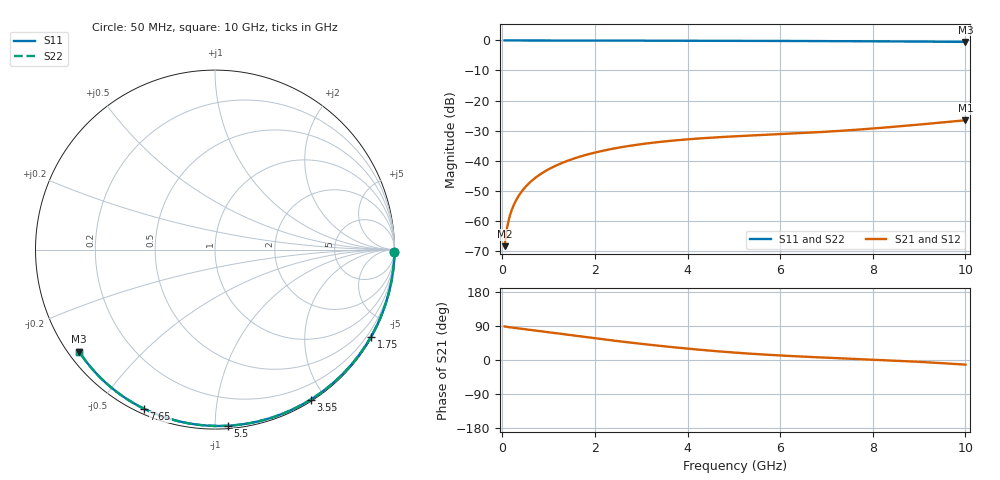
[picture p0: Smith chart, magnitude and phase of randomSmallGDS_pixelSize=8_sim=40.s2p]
! freq	dB(S11)	phase(S11)	dB(S12)	phase(S12)
!  dB(S21)	phase(S21)	dB(S22)	phase(S22)
!S-par simulation data
#  GHz  S  DB  R 50
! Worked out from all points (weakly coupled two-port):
!   200 points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, 50 MHz to 10 GHz, reference 50 ohm
!   highest |S21| = -26.57 dB at 10 GHz (marker M1); lowest = -68.5 dB at 50 MHz (marker M2)
!   lowest |S11| = -0.5 dB at 10 GHz (marker M3), VSWR 36.54, Z = 1.52 - j16.7 ohm
!   |S11| at or under -10 dB: nowhere
!   |S22| runs from -0.5 to 0.0 dB; largest |S21 - S12| = 0
!   S11 on the Smith chart (normalised r, x): 50 MHz: open; 1.75 GHz: 0.03, -3.85; 3.55 GHz: 0.02, -1.82; 5.5 GHz: 0.02, -1.08; 7.65 GHz: 0.02, -0.65; 10 GHz: 0.03, -0.33
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0.05  -0.00 -0.8  -68.47 88.6  -68.47 88.6  -0.00 -0.8
0.1  -0.00 -1.7  -62.51 87.4  -62.51 87.4  -0.00 -1.7
0.15  -0.00 -2.5  -59.05 86.5  -59.05 86.5  -0.00 -2.5
0.2  -0.00 -3.4  -56.59 85.7  -56.59 85.7  -0.00 -3.4
0.25  -0.00 -4.2  -54.69 84.9  -54.69 84.9  -0.00 -4.2
0.35  -0.00 -5.9  -51.81 83.4  -51.81 83.4  -0.00 -5.9
0.5  -0.01 -8.4  -48.76 81.1  -48.76 81.1  -0.01 -8.4
0.7  -0.01 -11.8  -45.89 77.9  -45.89 77.9  -0.01 -11.8
1  -0.02 -16.8  -42.88 73.0  -42.88 73.0  -0.02 -16.8
1.35  -0.03 -22.6  -40.40 67.4  -40.40 67.4  -0.03 -22.6
1.75  -0.04 -29.1  -38.34 61.1  -38.34 61.1  -0.04 -29.1
2.5  -0.05 -41.2  -35.71 49.8  -35.71 49.8  -0.05 -41.2
3.4  -0.07 -55.2  -33.77 37.4  -33.77 37.4  -0.07 -55.2
3.55  -0.08 -57.5  -33.53 35.4  -33.53 35.4  -0.08 -57.5
4.3  -0.10 -68.6  -32.57 26.7  -32.57 26.7  -0.10 -68.6
5.05  -0.12 -79.4  -31.88 19.3  -31.88 19.3  -0.12 -79.4
5.5  -0.14 -85.7  -31.54 15.5  -31.54 15.5  -0.14 -85.7
6.7  -0.20 -101.8  -30.64 7.7  -30.64 7.7  -0.20 -101.8
7.65  -0.26 -114.0  -29.71 2.9  -29.71 2.9  -0.26 -114.0
8.35  -0.31 -122.8  -28.87 -0.8  -28.87 -0.8  -0.31 -122.8
9.2  -0.39 -133.3  -27.72 -6.2  -27.72 -6.2  -0.39 -133.3
10  -0.48 -143.1  -26.57 -12.2  -26.57 -12.2  -0.48 -143.1
